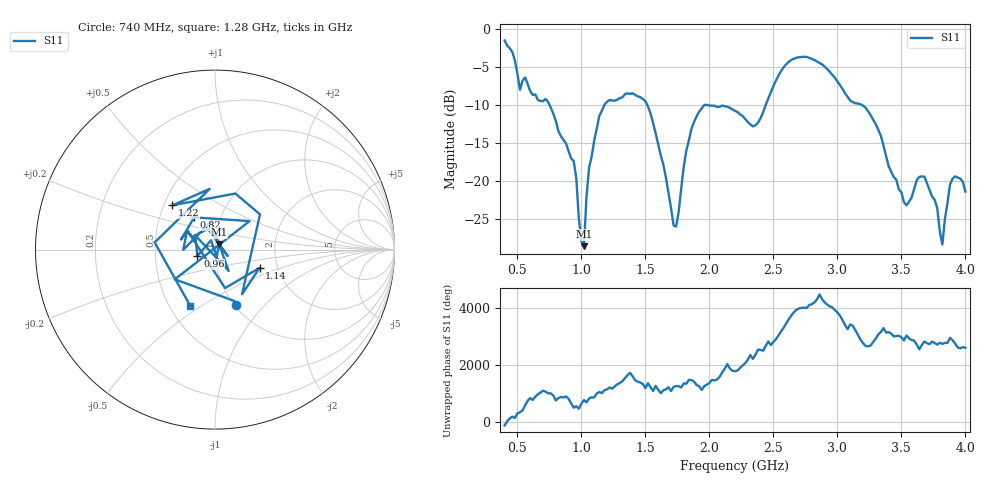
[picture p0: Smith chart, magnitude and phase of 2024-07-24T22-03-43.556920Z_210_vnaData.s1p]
!Created with skrf (http://scikit-rf.org).
# Hz S RI R 50.0
!freq ReS11 ImS11
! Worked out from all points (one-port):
!   181 points, 400 MHz to 4 GHz, reference 50 ohm
!   lowest |S11| = -28.6 dB at 1.02 GHz (marker M1), VSWR 1.08, Z = 52.1 + j3.16 ohm
!   |S11| at or under -10 dB: 1.515 GHz to 1.959 GHz (443.8 MHz wide, 25.5 % of centre); 1.989 GHz to 2.44 GHz (450.3 MHz wide, 20.3 % of centre); 3.194 GHz to end of sweep (the widest 3 of 4)
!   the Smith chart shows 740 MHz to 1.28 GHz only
!   S11 on the Smith chart (normalised r, x): 740 MHz: 1.02, -0.71; 820 MHz: 0.75, +0.28; 960 MHz: 0.82, -0.06; 1.14 GHz: 1.61, -0.35; 1.22 GHz: 0.55, +0.31; 1.28 GHz: 0.63, -0.45
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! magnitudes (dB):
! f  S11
! 400 MHz  -1.5
! 520 MHz  -8.0
! 740 MHz  -9.6
! 820 MHz  -13.4
! 860 MHz  -14.6
! 960 MHz  -19.6
! 1 GHz  -28.0
! 1.02 GHz  -28.6
! 1.06 GHz  -18.2
! 1.14 GHz  -11.4
! 1.22 GHz  -9.3
! 1.28 GHz  -9.3
! 1.3 GHz  -9.1
! 1.5 GHz  -9.5
! 1.72 GHz  -25.8
! 1.76 GHz  -24.0
! 1.82 GHz  -16.0
! 1.92 GHz  -10.9
! 2.2 GHz  -10.8
! 2.36 GHz  -12.6
! 2.66 GHz  -3.9
! 3.1 GHz  -9.4
! 3.26 GHz  -11.3
! 3.56 GHz  -22.7
! 3.68 GHz  -19.4
! 3.82 GHz  -28.4
! 3.88 GHz  -20.4
! 4 GHz  -21.4
